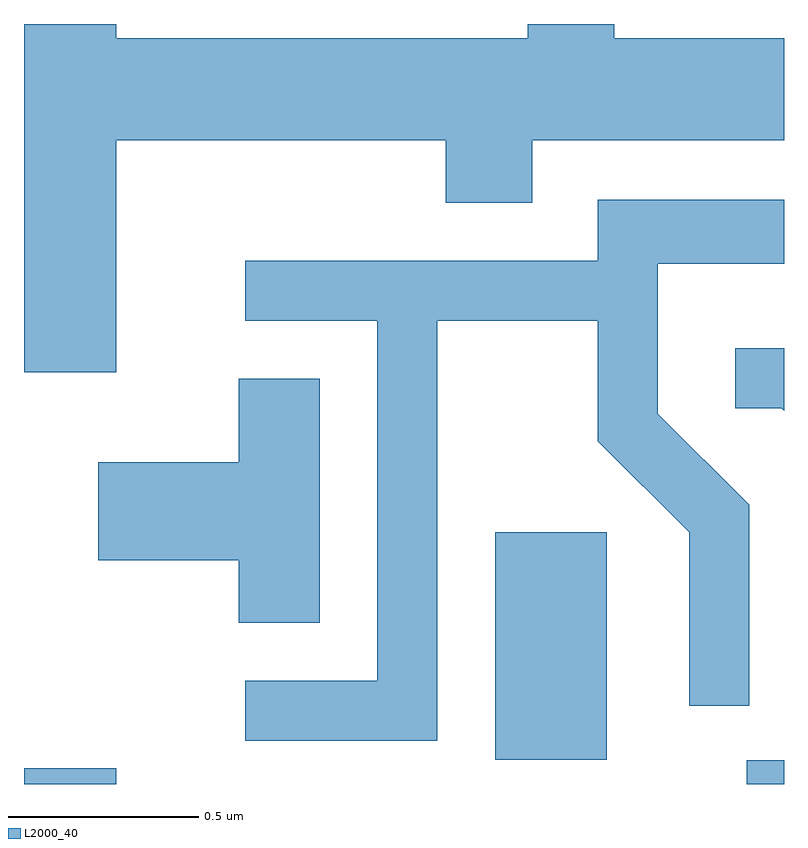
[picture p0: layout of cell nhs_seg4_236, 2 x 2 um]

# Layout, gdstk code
import gdstk
lib = gdstk.Library(unit=1e-6, precision=1e-09)
def R(c, l, rs):  # rectangles x0, y0, x1, y1
    for r in rs: c.add(gdstk.rectangle(r[:2], r[2:], *l))
def P(c, l, *ps):  # polygons
    for p in ps: c.add(gdstk.Polygon(p, *l))
L2000_40 = (2000, 40)

nhs_seg4_236 = lib.new_cell('nhs_seg4_236')
R(nhs_seg4_236, L2000_40, [(186.611,1352.982,186.854,1353.024), (188.513,1352.982,188.611,1353.044), (187.851,1353.046,188.144,1353.644)])
P(nhs_seg4_236, L2000_40, [(186.854,1354.676),(187.721,1354.676),(187.721,1354.511),(187.949,1354.511),(187.949,1354.676),(188.611,1354.676),(188.611,1354.944),(188.164,1354.944),(188.164,1354.982),(187.936,1354.982),(187.936,1354.944),(186.854,1354.944),(186.854,1354.982),(186.611,1354.982),(186.611,1354.066),(186.854,1354.066)],
  [(187.699,1354.201),(188.121,1354.201),(188.121,1353.884),(188.361,1353.644),(188.361,1353.188),(188.519,1353.188),(188.519,1353.717),(188.279,1353.957),(188.279,1354.351),(188.611,1354.351),(188.611,1354.519),(188.121,1354.519),(188.121,1354.359),(187.193,1354.359),(187.193,1354.201),(187.541,1354.201),(187.541,1353.254),(187.193,1353.254),(187.193,1353.096),(187.699,1353.096)],
  [(188.611,1354.129),(188.483,1354.129),(188.483,1353.971),(188.604,1353.971),(188.611,1353.964)],
  [(187.389,1354.049),(187.176,1354.049),(187.176,1353.829),(186.806,1353.829),(186.806,1353.571),(187.176,1353.571),(187.176,1353.406),(187.389,1353.406)])

lib.write_gds('nhs_seg4_236.gds')
